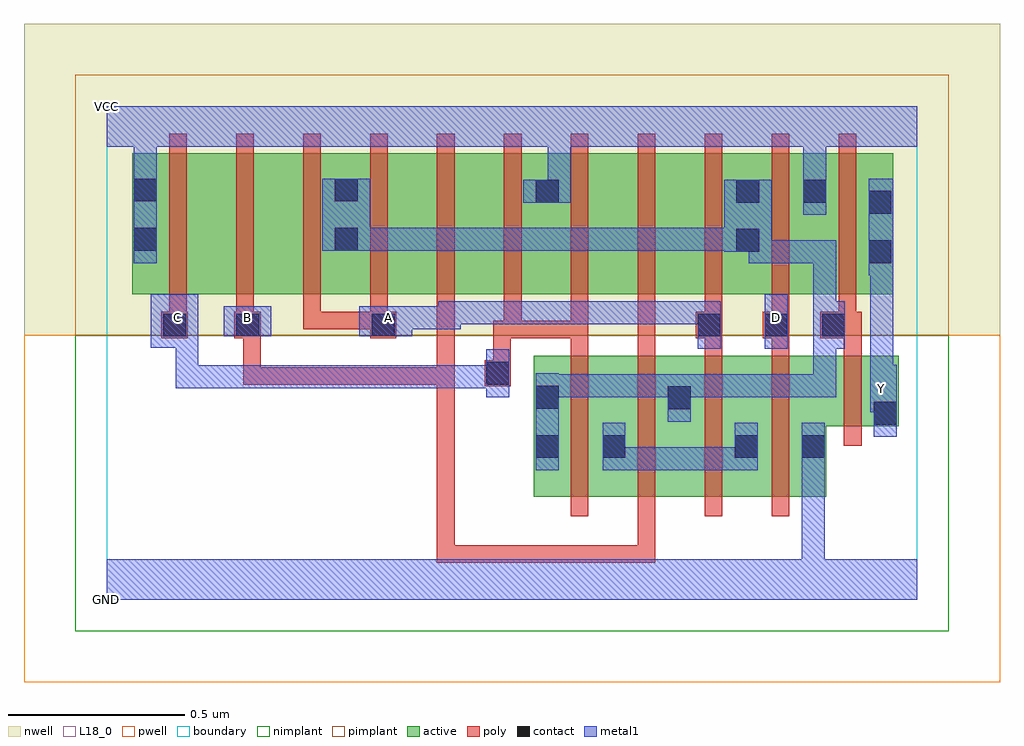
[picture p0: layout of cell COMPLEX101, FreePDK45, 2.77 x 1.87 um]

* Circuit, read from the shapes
.subckt COMPLEX101 A B C D GND VCC Y
M1 n1 C n2 VSUBS nfet w=0.4u l=0.05u
M2 n2 B n1 VSUBS nfet w=0.4u l=0.05u
M3 n1 A n2 VSUBS nfet w=0.4u l=0.05u
M4 GND D n1 VSUBS nfet w=0.4u l=0.05u
M5 Y n2 GND VSUBS nfet w=0.2u l=0.05u
M6 n3 C VCC n4 pfet w=0.4u l=0.05u
M7 n5 B n3 n4 pfet w=0.4u l=0.05u
M8 n2 A n5 n4 pfet w=0.4u l=0.05u
M9 n6 A n2 n4 pfet w=0.4u l=0.05u
M10 n7 B n6 n4 pfet w=0.4u l=0.05u
M11 VCC C n7 n4 pfet w=0.4u l=0.05u
M12 n8 C VCC n4 pfet w=0.4u l=0.05u
M13 n9 B n8 n4 pfet w=0.4u l=0.05u
M14 n2 A n9 n4 pfet w=0.4u l=0.05u
M15 VCC D n2 n4 pfet w=0.4u l=0.05u
M16 Y n2 VCC n4 pfet w=0.4u l=0.05u
.ends

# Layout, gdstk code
import gdstk
lib = gdstk.Library(unit=1e-6, precision=1e-09)
def R(c, l, rs):  # rectangles x0, y0, x1, y1
    for r in rs: c.add(gdstk.rectangle(r[:2], r[2:], *l))
def A(c, l, x, y, w, h, nx, ny, dx, dy):  # array of equal rectangles
    R(c, l, [(x+i*dx, y+j*dy, x+i*dx+w, y+j*dy+h) for i in range(nx) for j in range(ny)])
active = (1, 0)
pwell = (2, 0)
nwell = (3, 0)
nimplant = (4, 0)
pimplant = (5, 0)
poly = (9, 0)
contact = (10, 0)
metal1 = (11, 0)
L18_0 = (18, 0)
boundary = (235, 0)

complex101 = lib.new_cell('COMPLEX101')
A(complex101, active, 0.072, 0.867, 0.225, 0.4, 3, 1, 0.57, 0)
A(complex101, active, 0.297, 0.867, 0.19, 0.4, 3, 1, 0.57, 0)
A(complex101, active, 0.487, 0.867, 0.23, 0.4, 3, 1, 0.57, 0)
R(complex101, active, [(1.212,0.292,1.477,0.692), (1.402,0.292,1.662,0.692), (1.587,0.292,1.852,0.692), (1.777,0.292,2.042,0.692), (1.212,0.295,1.287,0.692), (1.402,0.295,1.477,0.537), (1.587,0.295,1.662,0.692), (1.777,0.295,1.852,0.597), (1.967,0.397,2.042,0.597), (1.967,0.492,2.247,0.692), (2.172,0.492,2.247,0.692), (0.072,0.867,0.147,1.205), (1.782,0.867,2.047,1.267), (1.972,0.867,2.232,1.267), (2.157,0.867,2.232,1.2), (0.642,0.907,0.717,1.2), (1.212,0.907,1.287,1.205), (1.782,0.907,1.857,1.2), (1.972,0.907,2.047,1.205)])
R(complex101, pwell, [(-0.235,-0.235,2.535,0.75)])
R(complex101, nwell, [(-0.235,0.75,2.535,1.635)])
R(complex101, nimplant, [(-0.09,-0.09,2.39,0.75)])
R(complex101, pimplant, [(-0.09,0.75,2.39,1.49)])
A(complex101, poly, 1.317, 0.237, 0.05, 0.51, 4, 1, 0.19, 0)
A(complex101, poly, 0.177, 0.767, 0.05, 0.095, 4, 1, 0.19, 0)
A(complex101, poly, 1.507, 0.767, 0.05, 0.095, 4, 1, 0.19, 0)
A(complex101, poly, 0.177, 0.812, 0.05, 0.51, 11, 1, 0.19, 0)
R(complex101, poly, [(0.937,0.105,0.987,0.155), (0.937,0.105,0.987,0.155), (0.937,0.105,0.987,0.155), (0.937,0.105,0.987,0.155), (0.937,0.105,0.987,0.155), (0.937,0.105,0.987,0.155), (0.937,0.105,0.987,0.155), (0.937,0.105,1.12,0.155), (0.937,0.105,0.987,0.66), (1.07,0.105,1.12,0.155), (1.07,0.105,1.31,0.155), (1.26,0.105,1.31,0.155), (1.26,0.105,1.31,0.155), (1.26,0.105,1.31,0.155), (1.26,0.105,1.557,0.155), (1.507,0.105,1.557,0.155), (1.507,0.105,1.557,0.155), (1.507,0.105,1.557,0.155), (1.507,0.105,1.557,0.287), (2.092,0.437,2.142,0.747), (1.072,0.605,1.147,0.68), (0.387,0.61,0.437,0.66), (0.387,0.61,0.437,0.66), (0.387,0.61,0.437,0.66), (0.387,0.61,0.437,0.792), (0.387,0.61,0.665,0.66), (0.615,0.61,0.665,0.66), (0.615,0.61,0.665,0.66), (0.615,0.61,0.665,0.66), (0.615,0.61,0.817,0.66), (0.767,0.61,0.817,0.66), (0.767,0.61,0.817,0.66), (0.767,0.61,0.817,0.66), (0.767,0.61,0.987,0.66), (0.937,0.61,0.987,0.66), (0.937,0.61,0.987,0.66), (0.937,0.61,0.987,0.66), (0.937,0.61,0.987,0.66), (0.937,0.61,0.987,0.66), (0.937,0.61,0.987,0.862), (1.097,0.63,1.147,0.68), (1.097,0.63,1.147,0.68), (1.097,0.63,1.147,0.792), (1.317,0.697,1.367,0.792), (1.507,0.697,1.557,0.817), (1.697,0.697,1.747,0.792), (1.887,0.697,1.937,0.792), (2.092,0.697,2.142,0.792), (0.155,0.742,0.23,0.817), (0.362,0.742,0.437,0.817), (0.387,0.742,0.437,0.792), (0.387,0.742,0.437,0.792), (0.747,0.742,0.822,0.817), (1.097,0.742,1.177,0.792), (1.127,0.742,1.177,0.862), (1.127,0.742,1.177,0.792), (1.127,0.742,1.177,0.792), (1.127,0.742,1.367,0.792), (1.317,0.742,1.367,0.862), (1.317,0.742,1.367,0.792), (1.672,0.742,1.747,0.817), (1.862,0.742,1.937,0.817), (2.025,0.742,2.142,0.817), (0.557,0.767,0.607,0.817), (0.557,0.767,0.607,0.817), (0.557,0.767,0.607,0.817), (0.557,0.767,0.797,0.817), (1.507,0.767,1.557,0.817)])
R(complex101, contact, [(1.217,0.402,1.282,0.467), (1.407,0.402,1.472,0.467), (1.782,0.402,1.847,0.467), (1.972,0.402,2.037,0.467), (2.177,0.497,2.242,0.562), (1.592,0.54,1.657,0.605), (1.217,0.542,1.282,0.607), (1.077,0.61,1.142,0.675), (0.16,0.747,0.225,0.812), (0.367,0.747,0.432,0.812), (0.752,0.747,0.817,0.812), (1.677,0.747,1.742,0.812), (1.867,0.747,1.932,0.812), (2.03,0.747,2.095,0.812), (2.162,0.955,2.227,1.02), (1.787,0.987,1.852,1.052), (0.077,0.99,0.142,1.055), (0.647,0.99,0.712,1.055), (2.162,1.095,2.227,1.16), (1.217,1.127,1.282,1.192), (1.787,1.127,1.852,1.192), (1.977,1.127,2.042,1.192), (0.077,1.13,0.142,1.195), (0.647,1.13,0.712,1.195)])
R(complex101, metal1, [(0,0,2.3,0.115), (1.972,0.05,2.037,0.115), (1.972,0.05,2.037,0.115), (1.972,0.05,2.037,0.432), (1.217,0.367,1.282,0.642), (1.407,0.367,1.472,0.432), (1.407,0.367,1.472,0.432), (1.407,0.367,1.472,0.502), (1.407,0.367,1.61,0.432), (1.545,0.367,1.61,0.432), (1.545,0.367,1.61,0.432), (1.545,0.367,1.61,0.432), (1.545,0.367,1.847,0.432), (1.782,0.367,1.847,0.502), (1.972,0.367,2.037,0.502), (2.177,0.462,2.242,0.597), (1.592,0.505,1.657,0.64), (2.167,0.532,2.242,0.667), (2.177,0.532,2.242,0.597), (1.077,0.575,1.142,0.71), (1.217,0.575,1.335,0.64), (1.27,0.575,1.335,0.64), (1.27,0.575,1.472,0.64), (1.407,0.575,1.472,0.64), (1.407,0.575,1.472,0.64), (1.407,0.575,1.472,0.64), (1.407,0.575,1.657,0.64), (1.592,0.575,1.657,0.64), (1.592,0.575,1.657,0.64), (1.592,0.575,1.795,0.64), (1.73,0.575,1.795,0.64), (1.73,0.575,1.795,0.64), (1.73,0.575,1.795,0.64), (1.73,0.575,2.07,0.64), (2.005,0.575,2.07,0.64), (2.005,0.575,2.07,0.847), (0.195,0.6,0.26,0.665), (0.195,0.6,0.472,0.665), (0.195,0.6,0.26,0.78), (0.407,0.6,0.472,0.665), (0.407,0.6,0.472,0.665), (0.407,0.6,0.472,0.665), (0.407,0.6,0.61,0.665), (0.545,0.6,0.61,0.665), (0.545,0.6,0.61,0.665), (0.545,0.6,0.61,0.665), (0.545,0.6,0.867,0.665), (0.802,0.6,0.867,0.665), (0.802,0.6,0.885,0.665), (0.82,0.6,0.885,0.665), (0.82,0.6,1.005,0.665), (0.94,0.6,1.005,0.665), (0.94,0.6,1.022,0.665), (0.957,0.6,1.022,0.665), (0.957,0.6,1.022,0.665), (0.957,0.6,1.022,0.665), (0.957,0.6,1.142,0.665), (2.167,0.602,2.232,0.985), (1.677,0.712,1.742,0.847), (1.867,0.712,1.932,0.867), (2.03,0.712,2.095,0.847), (0.125,0.715,0.26,0.867), (0.195,0.715,0.26,0.78), (0.195,0.715,0.26,0.78), (0.332,0.747,0.467,0.832), (0.717,0.747,0.867,0.832), (0.802,0.767,0.885,0.832), (0.82,0.767,0.885,0.832), (0.82,0.767,1.005,0.832), (0.94,0.767,1.005,0.847), (0.94,0.782,1.06,0.847), (0.995,0.782,1.06,0.847), (0.995,0.782,1.197,0.847), (1.132,0.782,1.197,0.847), (1.132,0.782,1.197,0.847), (1.132,0.782,1.197,0.847), (1.132,0.782,1.335,0.847), (1.27,0.782,1.335,0.847), (1.27,0.782,1.472,0.847), (1.407,0.782,1.472,0.847), (1.407,0.782,1.472,0.847), (1.407,0.782,1.472,0.847), (1.407,0.782,1.61,0.847), (1.545,0.782,1.61,0.847), (1.545,0.782,1.742,0.847), (2.005,0.782,2.07,0.847), (2.005,0.782,2.095,0.847), (2.005,0.782,2.07,1.02), (2.162,0.92,2.232,1.195), (0.077,0.955,0.142,1.23), (1.822,0.955,2.07,1.02), (1.822,0.955,1.887,1.052), (2.005,0.955,2.07,1.02), (1.752,0.987,1.887,1.192), (1.822,0.987,1.887,1.052), (0.612,0.99,0.747,1.195), (0.682,0.99,0.747,1.055), (0.682,0.99,0.747,1.055), (0.682,0.99,0.885,1.055), (0.82,0.99,0.885,1.055), (0.82,0.99,1.005,1.055), (0.94,0.99,1.005,1.055), (0.94,0.99,1.022,1.055), (0.957,0.99,1.022,1.055), (0.957,0.99,1.197,1.055), (1.132,0.99,1.197,1.055), (1.132,0.99,1.197,1.055), (1.132,0.99,1.197,1.055), (1.132,0.99,1.335,1.055), (1.27,0.99,1.335,1.055), (1.27,0.99,1.472,1.055), (1.407,0.99,1.472,1.055), (1.407,0.99,1.472,1.055), (1.407,0.99,1.472,1.055), (1.407,0.99,1.61,1.055), (1.545,0.99,1.61,1.055), (1.545,0.99,1.61,1.055), (1.545,0.99,1.61,1.055), (1.545,0.99,1.817,1.055), (1.977,1.092,2.042,1.227), (1.182,1.127,1.317,1.192), (1.252,1.127,1.317,1.35), (1.977,1.162,2.042,1.35), (0.077,1.165,0.142,1.35), (0,1.285,2.3,1.4)])
R(complex101, L18_0, [(0,0,2.3,0.115), (1.972,0.05,2.037,0.115), (1.972,0.05,2.037,0.115), (1.972,0.05,2.037,0.432), (1.972,0.367,2.037,0.502), (2.177,0.462,2.242,0.597), (2.167,0.532,2.242,0.667), (2.177,0.532,2.242,0.597), (2.167,0.567,2.232,0.632), (1.077,0.575,1.142,0.71), (0.195,0.6,0.26,0.665), (0.195,0.6,0.26,0.78), (0.195,0.6,0.472,0.665), (0.407,0.6,0.472,0.665), (0.407,0.6,0.472,0.665), (0.407,0.6,0.472,0.665), (0.407,0.6,0.61,0.665), (0.545,0.6,0.61,0.665), (0.545,0.6,0.61,0.665), (0.545,0.6,0.61,0.665), (0.545,0.6,0.867,0.665), (0.802,0.6,0.867,0.665), (0.802,0.6,0.885,0.665), (0.82,0.6,0.885,0.665), (0.82,0.6,1.005,0.665), (0.94,0.6,1.005,0.665), (0.94,0.6,1.022,0.665), (0.957,0.6,1.022,0.665), (0.957,0.6,1.022,0.665), (0.957,0.6,1.022,0.665), (0.957,0.6,1.142,0.665), (2.167,0.602,2.232,0.985), (1.677,0.712,1.742,0.847), (1.867,0.712,1.932,0.867), (0.125,0.715,0.26,0.867), (0.195,0.715,0.26,0.78), (0.195,0.715,0.26,0.78), (0.332,0.747,0.467,0.832), (0.717,0.747,0.867,0.832), (0.167,0.767,0.232,0.832), (0.367,0.767,0.432,0.832), (0.767,0.767,0.832,0.832), (0.802,0.767,0.885,0.832), (0.82,0.767,0.885,0.832), (0.82,0.767,1.005,0.832), (0.94,0.767,1.005,0.847), (1.867,0.767,1.932,0.832), (0.94,0.782,1.06,0.847), (0.995,0.782,1.06,0.847), (0.995,0.782,1.197,0.847), (1.132,0.782,1.197,0.847), (1.132,0.782,1.197,0.847), (1.132,0.782,1.197,0.847), (1.132,0.782,1.335,0.847), (1.27,0.782,1.335,0.847), (1.27,0.782,1.472,0.847), (1.407,0.782,1.472,0.847), (1.407,0.782,1.472,0.847), (1.407,0.782,1.472,0.847), (1.407,0.782,1.61,0.847), (1.545,0.782,1.61,0.847), (1.545,0.782,1.742,0.847), (2.162,0.92,2.232,1.195), (0.077,0.955,0.142,1.23), (1.977,1.092,2.042,1.227), (1.182,1.127,1.317,1.192), (1.252,1.127,1.317,1.35), (1.977,1.162,2.042,1.35), (0.077,1.165,0.142,1.35), (0,1.285,2.3,1.4)])
R(complex101, boundary, [(0,0,2.3,1.4)])
complex101.add(gdstk.Label('A', (0.8,0.8), layer=11, texttype=0))
complex101.add(gdstk.Label('B', (0.4,0.8), layer=11, texttype=0))
complex101.add(gdstk.Label('C', (0.2,0.8), layer=11, texttype=0))
complex101.add(gdstk.Label('D', (1.9,0.8), layer=11, texttype=0))
complex101.add(gdstk.Label('Y', (2.2,0.6), layer=11, texttype=0))
complex101.add(gdstk.Label('VCC', (0,1.4), layer=11, texttype=0))
complex101.add(gdstk.Label('GND', (0,0), layer=11, texttype=0))

lib.write_gds('COMPLEX101.gds')
